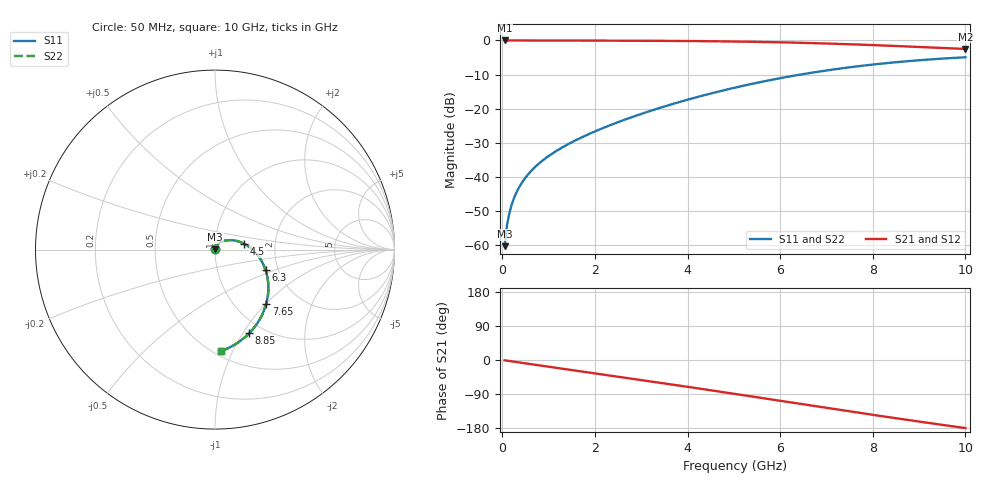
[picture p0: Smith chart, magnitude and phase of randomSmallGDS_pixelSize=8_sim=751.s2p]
! freq	dB(S11)	phase(S11)	dB(S12)	phase(S12)
!  dB(S21)	phase(S21)	dB(S22)	phase(S22)
!S-par simulation data
#  GHz  S  DB  R 50
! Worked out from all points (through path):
!   200 points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, 50 MHz to 10 GHz, reference 50 ohm
!   highest |S21| = 0.00 dB at 50 MHz (marker M1); lowest = -2.5 dB at 10 GHz (marker M2)
!   group delay of S21, straight-line fit = 50.4 ps
!   lowest |S11| = -60.4 dB at 50 MHz (marker M3), VSWR 1.00, Z = 50 + j0.0958 ohm
!   |S11| at or under -10 dB: start of sweep to 6.442 GHz
!   |S22| runs from -60.4 to -4.9 dB; largest |S21 - S12| = 0
!   S11 on the Smith chart (normalised r, x): 50 MHz: 1.00, +0.00; 4.5 GHz: 1.39, +0.09; 6.3 GHz: 1.72, -0.43; 7.65 GHz: 1.37, -1.00; 8.85 GHz: 0.86, -1.07; 10 GHz: 0.54, -0.90
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0.05  -60.36 86.9  -0.00 -0.9  -0.00 -0.9  -60.36 86.9
0.1  -54.34 87.2  -0.00 -1.8  -0.00 -1.8  -54.34 87.2
0.15  -50.81 86.7  -0.00 -2.6  -0.00 -2.6  -50.81 86.7
0.2  -48.31 86.0  -0.00 -3.5  -0.00 -3.5  -48.31 86.0
0.3  -44.76 84.5  -0.00 -5.3  -0.00 -5.3  -44.76 84.5
0.45  -41.20 82.1  -0.01 -7.9  -0.01 -7.9  -41.20 82.1
0.65  -37.91 78.7  -0.01 -11.4  -0.01 -11.4  -37.91 78.7
0.95  -34.41 73.7  -0.02 -16.6  -0.02 -16.6  -34.41 73.7
1.3  -31.35 67.8  -0.03 -22.7  -0.03 -22.7  -31.35 67.8
1.75  -28.21 60.2  -0.04 -30.6  -0.04 -30.6  -28.21 60.2
2.55  -23.72 46.2  -0.07 -44.7  -0.07 -44.7  -23.72 46.3
3.4  -19.79 31.0  -0.11 -59.9  -0.11 -59.9  -19.79 31.1
3.95  -17.57 21.1  -0.16 -69.8  -0.16 -69.8  -17.57 21.1
4.5  -15.57 11.1  -0.23 -79.8  -0.23 -79.8  -15.57 11.1
5.05  -13.76 1.0  -0.32 -90.0  -0.32 -90.0  -13.76 1.0
5.65  -12.00 -10.1  -0.45 -101.1  -0.45 -101.1  -12.00 -10.1
6.3  -10.33 -22.1  -0.64 -113.3  -0.64 -113.3  -10.33 -22.1
6.7  -9.43 -29.5  -0.78 -120.7  -0.78 -120.7  -9.42 -29.4
7.65  -7.62 -46.7  -1.18 -138.3  -1.18 -138.3  -7.62 -46.7
8.35  -6.58 -59.1  -1.54 -151.0  -1.54 -151.0  -6.58 -59.1
8.85  -5.97 -67.7  -1.82 -159.9  -1.82 -159.9  -5.97 -67.7
10  -4.94 -86.7  -2.49 -179.7  -2.49 -179.7  -4.94 -86.6
